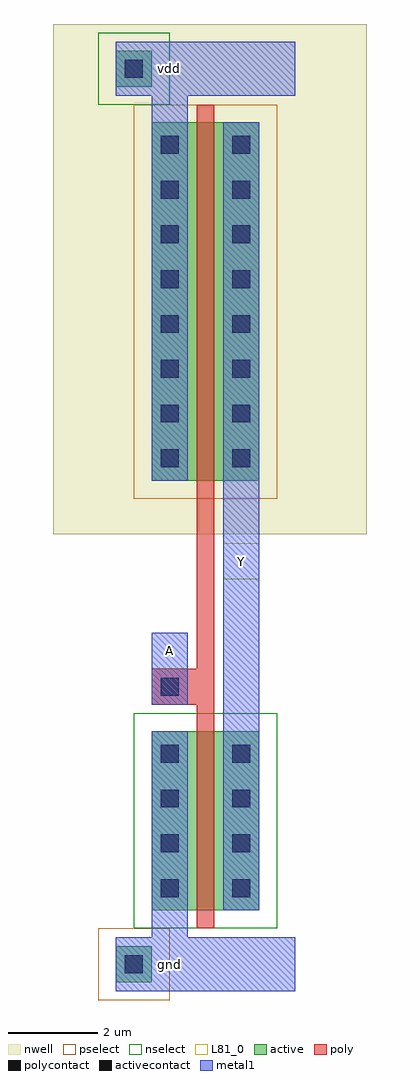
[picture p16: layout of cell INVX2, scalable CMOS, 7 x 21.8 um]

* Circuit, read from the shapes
.subckt INVX2 A Y gnd vdd
M1 Y A gnd gnd nfet w=4u l=0.4u
M2 Y A vdd vdd pfet w=8u l=0.4u
.ends

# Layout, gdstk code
import gdstk
lib = gdstk.Library(unit=1e-6, precision=1e-09)
def R(c, l, rs):  # rectangles x0, y0, x1, y1
    for r in rs: c.add(gdstk.rectangle(r[:2], r[2:], *l))
def A(c, l, x, y, w, h, nx, ny, dx, dy):  # array of equal rectangles
    R(c, l, [(x+i*dx, y+j*dy, x+i*dx+w, y+j*dy+h) for i in range(nx) for j in range(ny)])
nwell = (42, 0)
active = (43, 0)
pselect = (44, 0)
nselect = (45, 0)
poly = (46, 0)
polycontact = (47, 0)
activecontact = (48, 0)
metal1 = (49, 0)
L81_0 = (81, 0)

invx2 = lib.new_cell('INVX2')
R(invx2, nwell, [(-1.8,9.6,5.2,21)])
R(invx2, active, [(-0.4,-0.4,0.4,0.4), (0.4,1.2,2.8,5.2), (0.4,10.8,2.8,18.8), (-0.4,19.6,0.4,20.4)])
R(invx2, pselect, [(-0.8,-0.8,0.8,0.8), (0,10.4,3.2,19.2)])
R(invx2, nselect, [(0,0.8,3.2,5.6), (-0.8,19.2,0.8,20.8)])
R(invx2, poly, [(1.4,0.8,1.8,5.8), (0.4,5.8,1.8,6.6), (1.4,6.6,1.8,19.2)])
R(invx2, polycontact, [(0.6,6,1,6.4)])
A(invx2, activecontact, 0.6, 1.5, 0.4, 0.4, 1, 4, 0, 1)
A(invx2, activecontact, 2.2, 1.5, 0.4, 0.4, 1, 4, 0, 1)
A(invx2, activecontact, 0.6, 11.1, 0.4, 0.4, 1, 8, 0, 1)
A(invx2, activecontact, 2.2, 11.1, 0.4, 0.4, 1, 8, 0, 1)
R(invx2, activecontact, [(-0.2,-0.2,0.2,0.2), (-0.2,19.8,0.2,20.2)])
R(invx2, metal1, [(-0.4,-0.6,3.6,0.6), (0.4,0.6,1.2,5.2), (2,1.2,2.8,18.8), (0.4,5.8,1.2,7.4), (0.4,10.8,1.2,19.4), (-0.4,19.4,3.6,20.6)])
R(invx2, L81_0, [(0.4,6.6,1.2,7.4), (2,8.6,2.8,9.4)])
invx2.add(gdstk.Label('vdd', (0.8,20), layer=109, texttype=0))
invx2.add(gdstk.Label('gnd', (0.8,0), layer=109, texttype=0))
invx2.add(gdstk.Label('Y', (2.4,9), layer=109, texttype=0))
invx2.add(gdstk.Label('A', (0.8,7), layer=109, texttype=0))

lib.write_gds('INVX2.gds')
